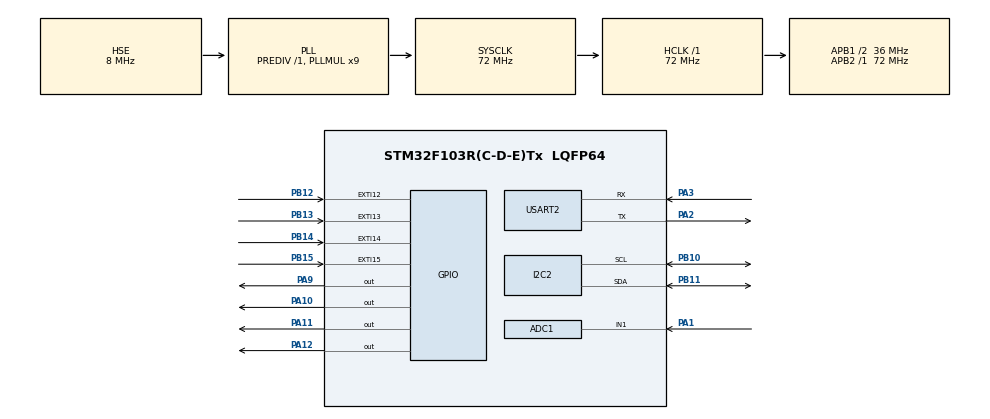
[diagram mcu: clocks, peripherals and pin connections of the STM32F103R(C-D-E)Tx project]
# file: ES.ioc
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ADC1.Channel-5\#ChannelRegularConversion=ADC_CHANNEL_1
ADC1.ContinuousConvMode=DISABLE
ADC1.EnableInjectedConversion=DISABLE
ADC1.EnableRegularConversion=ENABLE
ADC1.NbrOfConversion=1
ADC1.NbrOfConversionFlag=1
ADC1.Rank-5\#ChannelRegularConversion=1
ADC1.SamplingTime-5\#ChannelRegularConversion=ADC_SAMPLETIME_239CYCLES_5
ADC1.master=1
FREERTOS.Tasks01=defaultTask,24,128,StartDefaultTask,Default,NULL,Dynamic,NULL,NULL
FREERTOS.configTOTAL_HEAP_SIZE=6144
I2C2.I2C_Mode=I2C_Standard
Mcu.Family=STM32F1
Mcu.Name=STM32F103R(C-D-E)Tx
Mcu.Package=LQFP64
NVIC.ADC1_2_IRQn=true\:5\:0\:false\:false\:true\:true\:true\:true
NVIC.EXTI15_10_IRQn=true\:5\:0\:true\:false\:true\:true\:true\:true
NVIC.PriorityGroup=NVIC_PRIORITYGROUP_4
NVIC.TIM1_UP_IRQn=true\:15\:0\:false\:false\:true\:false\:false\:true
NVIC.TimeBase=TIM1_UP_IRQn
NVIC.TimeBaseIP=TIM1
NVIC.USART2_IRQn=true\:5\:0\:false\:false\:true\:true\:true\:true
PA1.Signal=ADCx_IN1
PA10.PinState=GPIO_PIN_SET
PA10.Signal=GPIO_Output
PA11.PinState=GPIO_PIN_SET
PA11.Signal=GPIO_Output
PA12.PinState=GPIO_PIN_SET
PA12.Signal=GPIO_Output
PA13.Mode=Serial_Wire
PA13.Signal=SYS_JTMS-SWDIO
PA14.Mode=Serial_Wire
PA14.Signal=SYS_JTCK-SWCLK
PA2.Mode=Asynchronous
PA2.Signal=USART2_TX
PA3.Mode=Asynchronous
PA3.Signal=USART2_RX
PA9.PinState=GPIO_PIN_SET
PA9.Signal=GPIO_Output
PB10.Mode=I2C
PB10.Signal=I2C2_SCL
PB11.Mode=I2C
PB11.Signal=I2C2_SDA
PB12.GPIO_ModeDefaultEXTI=GPIO_MODE_IT_FALLING
PB12.Signal=GPXTI12
PB13.GPIO_ModeDefaultEXTI=GPIO_MODE_IT_FALLING
PB13.Signal=GPXTI13
PB14.GPIO_ModeDefaultEXTI=GPIO_MODE_IT_FALLING
PB14.Signal=GPXTI14
PB15.GPIO_ModeDefaultEXTI=GPIO_MODE_IT_FALLING
PB15.Signal=GPXTI15
PD0-OSC_IN.Mode=HSE-External-Oscillator
PD0-OSC_IN.Signal=RCC_OSC_IN
PD1-OSC_OUT.Mode=HSE-External-Oscillator
PD1-OSC_OUT.Signal=RCC_OSC_OUT
ProjectManager.HeapSize=0x200
ProjectManager.StackSize=0x400
ProjectManager.TargetToolchain=STM32CubeIDE
RCC.ADCPresc=RCC_ADCPCLK2_DIV6
RCC.AHBFreq_Value=72000000
RCC.APB1CLKDivider=RCC_HCLK_DIV2
RCC.APB1Freq_Value=36000000
RCC.APB1TimFreq_Value=72000000
RCC.APB2Freq_Value=72000000
RCC.APB2TimFreq_Value=72000000
RCC.HCLKFreq_Value=72000000
RCC.PLLMUL=RCC_PLL_MUL9
RCC.PLLSourceVirtual=RCC_PLLSOURCE_HSE
RCC.SYSCLKFreq_VALUE=72000000
RCC.SYSCLKSource=RCC_SYSCLKSOURCE_PLLCLK
RCC.USBFreq_Value=72000000
SH.ADCx_IN1.0=ADC1_IN1,IN1
USART2.VirtualMode=VM_ASYNC
VP_FREERTOS_VS_CMSIS_V2.Mode=CMSIS_V2
VP_SYS_VS_tim1.Mode=TIM1
board=custom

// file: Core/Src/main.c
/* USER CODE BEGIN Header */
/**
  ******************************************************************************
  * @file           : main.c
  * @brief          : Main program body
  ******************************************************************************
  * @attention
  *
  * <h2><center>&copy; Copyright (c) 2023 STMicroelectronics.
  * All rights reserved.</center></h2>
  *
  * This software component is licensed by ST under Ultimate Liberty license
  * SLA0044, the "License"; You may not use this file except in compliance with
  * the License. You may obtain a copy of the License at:
  *                             www.st.com/SLA0044
  *
  ******************************************************************************
  */
/* USER CODE END Header */
#include "main.h"
#include "cmsis_os.h"
#include "adc.h"
#include "i2c.h"
#include "usart.h"
#include "gpio.h"

void SystemClock_Config(void);
void MX_FREERTOS_Init(void);

int main(void)
{

  /* MCU Configuration--------------------------------------------------------*/

  /* Reset of all peripherals, Initializes the Flash interface and the Systick. */
  HAL_Init();

  /* Configure the system clock */
  SystemClock_Config();

  /* Initialize all configured peripherals */
  MX_GPIO_Init();
  MX_ADC1_Init();
  MX_I2C2_Init();
  MX_USART2_UART_Init();

  /* Init scheduler */
  osKernelInitialize();  /* Call init function for freertos objects (in freertos.c) */
  MX_FREERTOS_Init();
  /* Start scheduler */
  osKernelStart();

  /* We should never get here as control is now taken by the scheduler */
  /* Infinite loop */
  while (1)
  {

  }
}

void SystemClock_Config(void)
{
  RCC_OscInitTypeDef RCC_OscInitStruct = {0};
  RCC_ClkInitTypeDef RCC_ClkInitStruct = {0};
  RCC_PeriphCLKInitTypeDef PeriphClkInit = {0};

  /** Initializes the RCC Oscillators according to the specified parameters
  * in the RCC_OscInitTypeDef structure.
  */
  RCC_OscInitStruct.OscillatorType = RCC_OSCILLATORTYPE_HSE;
  RCC_OscInitStruct.HSEState = RCC_HSE_ON;
  RCC_OscInitStruct.HSEPredivValue = RCC_HSE_PREDIV_DIV1;
  RCC_OscInitStruct.HSIState = RCC_HSI_ON;
  RCC_OscInitStruct.PLL.PLLState = RCC_PLL_ON;
  RCC_OscInitStruct.PLL.PLLSource = RCC_PLLSOURCE_HSE;
  RCC_OscInitStruct.PLL.PLLMUL = RCC_PLL_MUL9;
  if (HAL_RCC_OscConfig(&RCC_OscInitStruct) != HAL_OK)
  {
    Error_Handler();
  }
  /** Initializes the CPU, AHB and APB buses clocks
  */
  RCC_ClkInitStruct.ClockType = RCC_CLOCKTYPE_HCLK|RCC_CLOCKTYPE_SYSCLK
                              |RCC_CLOCKTYPE_PCLK1|RCC_CLOCKTYPE_PCLK2;
  RCC_ClkInitStruct.SYSCLKSource = RCC_SYSCLKSOURCE_PLLCLK;
  RCC_ClkInitStruct.AHBCLKDivider = RCC_SYSCLK_DIV1;
  RCC_ClkInitStruct.APB1CLKDivider = RCC_HCLK_DIV2;
  RCC_ClkInitStruct.APB2CLKDivider = RCC_HCLK_DIV1;

  if (HAL_RCC_ClockConfig(&RCC_ClkInitStruct, FLASH_LATENCY_2) != HAL_OK)
  {
    Error_Handler();
  }
  PeriphClkInit.PeriphClockSelection = RCC_PERIPHCLK_ADC;
  PeriphClkInit.AdcClockSelection = RCC_ADCPCLK2_DIV6;
  if (HAL_RCCEx_PeriphCLKConfig(&PeriphClkInit) != HAL_OK)
  {
    Error_Handler();
  }
}

void HAL_TIM_PeriodElapsedCallback(TIM_HandleTypeDef *htim)
{
  if (htim->Instance == TIM1) {
    HAL_IncTick();
  }
}

void Error_Handler(void)
{
  __disable_irq();
  while (1)
  {
  }
}

/************************ (C) COPYRIGHT STMicroelectronics *****END OF FILE****/

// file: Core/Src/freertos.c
/* USER CODE BEGIN Header */
/**
  ******************************************************************************
  * File Name          : freertos.c
  * Description        : Code for freertos applications
  ******************************************************************************
  * @attention
  *
  * <h2><center>&copy; Copyright (c) 2023 STMicroelectronics.
  * All rights reserved.</center></h2>
  *
  * This software component is licensed by ST under Ultimate Liberty license
  * SLA0044, the "License"; You may not use this file except in compliance with
  * the License. You may obtain a copy of the License at:
  *                             www.st.com/SLA0044
  *
  ******************************************************************************
  */
/* USER CODE END Header */

#include "FreeRTOS.h"
#include "task.h"
#include "main.h"
#include "cmsis_os.h"

/* USER CODE BEGIN Includes */
#include <stdio.h>
#include <stdint.h>
#include <string.h>
#include <stdlib.h>
#include <math.h>
#include <stdbool.h>
#include <time.h>
#include "timers.h"
#include "event_groups.h"
#include "queue.h"
#include "semphr.h"
#include "i2c.h"
#include "usart.h"
#include "gpio.h"
#include "lcd.h"
#include "ads1115.h"
/* USER CODE END Includes */

/* USER CODE BEGIN PD */
#define ADC_BIT (1 << 0)
#define BUT0_BIT (1 << 1)
#define BUT1_BIT (1 << 2)
#define BUT2_BIT (1 << 3)
#define BUT3_BIT (1 << 4)
#define UART_BIT (1 << 5)
#define START_BYTE 1
#define END_BYTE 2
#define ERROR_FRAME 3
#define UART_BUFFER_LEN 20
#define LED_ON 0
#define LED_OFF 1

#define VER_2
/* USER CODE END PD */

/* USER CODE BEGIN Variables */
static const char *TAG = "FREERTOS.c";

xTaskHandle lcdTaskHandle;
xTaskHandle sensorTaskHandle;
xTaskHandle generalTaskHandle;
xQueueHandle sensorQueueHandle;
xQueueHandle genlcdQueueHandle;
xQueueHandle gensenQueueHandle;
EventGroupHandle_t evGroupHandle;
SemaphoreHandle_t i2cSemphrHandle;
extern ADC_HandleTypeDef hadc1;
extern UART_HandleTypeDef huart2;

typedef struct {
	uint8_t ucType;
	uint8_t ucVal[5];
} uartCfgHandle_t;

typedef struct {
	uint8_t ucPage;
	uint8_t ucCursor;
	bool bCfg;
	double dbVal[2];
	uint8_t ucVal[2][10];
} generalTestHandle_t;

typedef struct {
	uint8_t ucSensorStm[10];
	uint8_t ucSensorAds[10];
} sensorTestHandle_t;

uint8_t ucRxData;
uint8_t ucRxBuffer[UART_BUFFER_LEN] = {0};
uint8_t ucRxFlag = START_BYTE;
uint8_t ucRxCnt = 0;
/* USER CODE END Variables */
/* Definitions for defaultTask */
osThreadId_t defaultTaskHandle;
const osThreadAttr_t defaultTask_attributes = {
  .name = "defaultTask",
  .stack_size = 128 * 4,
  .priority = (osPriority_t) osPriorityNormal,
};

/* USER CODE BEGIN FunctionPrototypes */
void lcd_task(void *param);
void sensor_task(void *param);
void general_task(void *param);

void reverse(char *str, int len)
{
    int i = 0, j = len - 1, temp;
    while (i < j)
    {
        temp = str[i];
        str[i] = str[j];
        str[j] = temp;
        i++;
        j--;
    }
}

int intToStr(int x, char str[], int d)
{
    int i = 0;
    if(x == 0)
        str[i++] = '0';

    while (x)
    {
        str[i++] = (x % 10) + '0';
        x = x / 10;
    }

    while (i < d)
        str[i++] = '0';

    reverse(str, i);
    str[i] = '\0';
    return i;
}

void ftoa(double n, char* res, int afterpoint)
{
    int ipart = (int)n;
    double fpart = n - (double)ipart;
    int i = intToStr(ipart, res, 0);
    if (afterpoint != 0)
    {
        res[i] = '.';
        fpart = fpart * pow(10, afterpoint);
        intToStr((int)fpart, res + i + 1, afterpoint);
    }
}

void LOG(const char *TAG, char *data)
{
	char data_log[100] = {0};
	sprintf(data_log, "\r\n%s: %s\r\n", TAG, data);
	HAL_UART_Transmit(&huart2, (uint8_t *)data_log, strlen(data_log), 1000);
}
/* USER CODE END FunctionPrototypes */

void StartDefaultTask(void *argument);

void MX_FREERTOS_Init(void); /* (MISRA C 2004 rule 8.1) */

void MX_FREERTOS_Init(void) {

  /* USER CODE BEGIN RTOS_SEMAPHORES */
  /* add semaphores, ... */
	i2cSemphrHandle = xSemaphoreCreateMutex();
	if (i2cSemphrHandle == NULL)
	{

	}
  /* USER CODE END RTOS_SEMAPHORES */

  /* USER CODE BEGIN RTOS_QUEUES */
  /* add queues, ... */
	genlcdQueueHandle = xQueueCreate(5, sizeof(generalTestHandle_t));
	sensorQueueHandle = xQueueCreate(5, sizeof(sensorTestHandle_t));
	gensenQueueHandle = xQueueCreate(1, sizeof(generalTestHandle_t));
  /* USER CODE END RTOS_QUEUES */

  /* Create the thread(s) */
  /* creation of defaultTask */
//  defaultTaskHandle = osThreadNew(StartDefaultTask, NULL, &defaultTask_attributes);

  /* USER CODE BEGIN RTOS_THREADS */
  /* add threads, ... */
	xTaskCreate(&general_task, "GEN", 256, NULL, 4, &generalTaskHandle);
	xTaskCreate(&lcd_task, "LCD", 256, NULL, 3, &lcdTaskHandle);
	xTaskCreate(&sensor_task, "SENSOR", 256, NULL, 2, &sensorTaskHandle);
  /* USER CODE END RTOS_THREADS */

  /* USER CODE BEGIN RTOS_EVENTS */
  /* add events, ... */
	evGroupHandle = xEventGroupCreate();
  /* USER CODE END RTOS_EVENTS */

}

void StartDefaultTask(void *argument)
{
  for(;;)
  {
    osDelay(1);
  }
}

/* USER CODE BEGIN Application */
void HAL_ADC_ConvCpltCallback(ADC_HandleTypeDef* hadc)
{
	BaseType_t xHigherPriorityTaskWoken = pdFALSE;
	if (hadc->Instance == ADC1)
	{
		xEventGroupSetBitsFromISR(evGroupHandle, ADC_BIT, &xHigherPriorityTaskWoken);
	}
}

void HAL_GPIO_EXTI_Callback(uint16_t GPIO_Pin)
{
	BaseType_t xHigherPriorityTaskWoken = pdFALSE;
	if (GPIO_Pin == GPIO_PIN_12)
	{
		xEventGroupSetBitsFromISR(evGroupHandle, BUT0_BIT, &xHigherPriorityTaskWoken);
	}
	else if (GPIO_Pin == GPIO_PIN_13)
	{
		xEventGroupSetBitsFromISR(evGroupHandle, BUT1_BIT, &xHigherPriorityTaskWoken);
	}
	else if (GPIO_Pin == GPIO_PIN_14)
	{
		xEventGroupSetBitsFromISR(evGroupHandle, BUT2_BIT, &xHigherPriorityTaskWoken);
	}
	else if (GPIO_Pin == GPIO_PIN_15)
	{
		xEventGroupSetBitsFromISR(evGroupHandle, BUT3_BIT, &xHigherPriorityTaskWoken);
	}
}

void HAL_UART_RxCpltCallback(UART_HandleTypeDef *huart)
{
	BaseType_t xHigherPriorityTaskWoken = pdFALSE;
	if(ucRxData == '$')
	{
		memset((char *)ucRxBuffer, 0, strlen((char *)ucRxBuffer));
		ucRxBuffer[0] = ucRxData;
		ucRxFlag = START_BYTE;
		HAL_UART_Receive_IT(&huart2, &ucRxData, 1);
	}
	else if (ucRxFlag == START_BYTE && ucRxCnt < 20)
	{
		ucRxBuffer[++ucRxCnt] = ucRxData;
		if (ucRxData == '*')
			xEventGroupSetBitsFromISR(evGroupHandle, UART_BIT, &xHigherPriorityTaskWoken);
		else
			HAL_UART_Receive_IT(&huart2, &ucRxData, 1);
	}
	else if (ucRxCnt == UART_BUFFER_LEN)
	{
		ucRxFlag = ERROR_FRAME;
		memset((char *)ucRxBuffer, 0, strlen((char *)ucRxBuffer));
		ucRxCnt = 0;
		HAL_UART_Receive_IT(&huart2, &ucRxData, 1);
	}
}

void sensor_task(void *param)
{
	TickType_t xWakeTick = xTaskGetTickCount();
	EventBits_t xEvBit;
	uint8_t ucDataAds[3] = {0};
	generalTestHandle_t generalTest;
	sensorTestHandle_t sensorTest;
	BaseType_t xGenRet;
	double dbSensorStm;
	double dbSensorAds;
	double dbVal[2] = {1000.0, 25.0};
	ads_init();
	while (1)
	{
		xGenRet = xQueueReceive(gensenQueueHandle, &generalTest, 0 / portTICK_RATE_MS);
		if (xGenRet == pdTRUE)
		{
			dbVal[0] = generalTest.dbVal[0];
			dbVal[1] = generalTest.dbVal[1];
		}
		HAL_ADC_Start_IT(&hadc1);
		xEvBit = xEventGroupWaitBits(evGroupHandle, ADC_BIT , pdTRUE, pdFALSE, 200 / portTICK_RATE_MS);
		if (xEvBit & ADC_BIT)
			dbSensorStm = (double)HAL_ADC_GetValue(&hadc1) * 100 * 3.3 / 4095 ;
		else
			dbSensorStm = 0;
		ftoa(dbSensorStm, (char *)sensorTest.ucSensorStm, 2);
		memset((char *)ucDataAds, '\0', strlen((char *)ucDataAds));
		ads_read(ADS1115_CONVERSION_REG, ucDataAds);
		dbSensorAds = ((double)((((uint16_t)ucDataAds[0] << 8) & 0xFF00) | ((uint16_t)ucDataAds[1] & 0x00FF)) * 1.024 / 32767) * 100;
		ftoa(dbSensorAds, (char *)sensorTest.ucSensorAds, 2);
		if (dbSensorStm > dbVal[1])
		{
			HAL_GPIO_WritePin(GPIOA, GPIO_PIN_12, LED_ON);
			HAL_GPIO_WritePin(GPIOA, GPIO_PIN_11, LED_ON);
		}
		else
		{
			HAL_GPIO_WritePin(GPIOA, GPIO_PIN_12, LED_OFF);
			HAL_GPIO_WritePin(GPIOA, GPIO_PIN_11, LED_OFF);
		}
		if (dbSensorAds > dbVal[1])
		{
			HAL_GPIO_WritePin(GPIOA, GPIO_PIN_10, LED_ON);
			HAL_GPIO_WritePin(GPIOA, GPIO_PIN_9, LED_ON);
		}
		else
		{
			HAL_GPIO_WritePin(GPIOA, GPIO_PIN_10, LED_OFF);
			HAL_GPIO_WritePin(GPIOA, GPIO_PIN_9, LED_OFF);
		}
		xQueueSend(sensorQueueHandle, &sensorTest, 0 / portTICK_RATE_MS);
		vTaskDelayUntil(&xWakeTick, (TickType_t)dbVal[0] / portTICK_RATE_MS);
	}
}

void general_task(void *param)
{
	generalTestHandle_t generalTest = {
			.bCfg = false,
			.ucCursor = 0,
			.ucPage = 0,
			.dbVal[0] = 1000,
			.dbVal[1] = 25.0,
	};
	EventBits_t xEvBit;
	uartCfgHandle_t uartCfg = {0};
	ftoa(generalTest.dbVal[0] / 1000, (char *)generalTest.ucVal[0], 2);
	ftoa(generalTest.dbVal[1], (char *)generalTest.ucVal[1], 2);
	HAL_UART_Receive_IT(&huart2, &ucRxData, 1);
	while (1)
	{
		xEvBit = xEventGroupWaitBits(evGroupHandle, BUT0_BIT | BUT1_BIT | BUT2_BIT | BUT3_BIT | UART_BIT, pdTRUE, pdFALSE, portMAX_DELAY / portTICK_RATE_MS);
		if (xEvBit & BUT0_BIT)
		{
			generalTest.bCfg = false;
			generalTest.ucCursor = 0;
			generalTest.ucPage = 1 - generalTest.ucPage;
		}
		else if (xEvBit & BUT1_BIT)
		{
			if (generalTest.ucPage == 1 && generalTest.bCfg == false)
			{
				generalTest.ucCursor = 1 - generalTest.ucCursor;
			}
			else if (generalTest.ucPage == 1 && generalTest.bCfg == true)
			{
				if (generalTest.ucCursor == 0)
				{
					if(generalTest.dbVal[generalTest.ucCursor] == 9500)
					{
						generalTest.dbVal[generalTest.ucCursor] = 500;
					}
					else
						generalTest.dbVal[generalTest.ucCursor] += 500;
				}
				else if(generalTest.ucCursor == 1)
				{
					if(generalTest.dbVal[generalTest.ucCursor] == 99)
					{
						generalTest.dbVal[generalTest.ucCursor] = 1;
					}
					else
						generalTest.dbVal[generalTest.ucCursor] += 1;
				}
				ftoa(generalTest.dbVal[0] / 1000, (char *)generalTest.ucVal[0], 1);
				ftoa(generalTest.dbVal[1], (char *)generalTest.ucVal[1], 1);
			}
		}
		else if (xEvBit & BUT2_BIT)
		{
			if (generalTest.ucPage == 1 && generalTest.bCfg == false)
			{
				generalTest.ucCursor = 1 - generalTest.ucCursor;
			}
			else if (generalTest.ucPage == 1 && generalTest.bCfg == true)
			{
				if (generalTest.ucCursor == 0)
				{
					if(generalTest.dbVal[generalTest.ucCursor] == 500)
					{
						generalTest.dbVal[generalTest.ucCursor] = 9500;
					}
					else
						generalTest.dbVal[generalTest.ucCursor] -= 500;
				}
				else if(generalTest.ucCursor == 1)
				{
					if(generalTest.dbVal[generalTest.ucCursor] == 1)
					{
						generalTest.dbVal[generalTest.ucCursor] = 99;
					}
					else
						generalTest.dbVal[generalTest.ucCursor] -= 1;
				}
				ftoa(generalTest.dbVal[0] / 1000, (char *)generalTest.ucVal[0], 1);
				ftoa(generalTest.dbVal[1], (char *)generalTest.ucVal[1], 1);
			}
		}
		else if (xEvBit & BUT3_BIT)
		{
			if (generalTest.ucPage == 1)
			{
				generalTest.bCfg = !generalTest.bCfg;
			}
		}
		else if (xEvBit & UART_BIT)
		{
			LOG(TAG, (char *)ucRxBuffer);
			sscanf((char *)ucRxBuffer, "$,%c,%s,*", (char *)&uartCfg.ucType, (char *)uartCfg.ucVal);
			if (uartCfg.ucType == 'P')
			{
				generalTest.dbVal[0] = atof((char *)uartCfg.ucVal) * 1000;
				if (generalTest.dbVal[0] > 9500)
					generalTest.dbVal[0] = 9500;
				else if (generalTest.dbVal[0] < 500)
					generalTest.dbVal[0] = 500;
				ftoa(generalTest.dbVal[0] / 1000, (char *)generalTest.ucVal[0], 1);
			}
			else if (uartCfg.ucType == 'T')
			{
				generalTest.dbVal[1] = atof((char *)uartCfg.ucVal);
				if (generalTest.dbVal[1] > 99)
					generalTest.dbVal[1] = 99;
				else if (generalTest.dbVal[1] < 1)
					generalTest.dbVal[1] = 1;
				ftoa(generalTest.dbVal[1], (char *)generalTest.ucVal[1], 1);
			}
			ucRxCnt = 0;
			ucRxFlag = START_BYTE;
			HAL_UART_Receive_IT(&huart2, &ucRxData, 1);
		}
		if (xEvBit & 0x3E)
		{
			xQueueSend(genlcdQueueHandle, &generalTest, 0 / portTICK_RATE_MS);
			xQueueOverwrite(gensenQueueHandle, &generalTest);
		}
	}
}

void lcd_task(void *param)
{
	char cVal[2][20];
	TickType_t xWakeTick = xTaskGetTickCount();
	generalTestHandle_t generalTest = {
			.bCfg = false,
			.ucCursor = 0,
			.ucPage = 0,
			.dbVal[0] = 1000,
			.dbVal[1] = 25.0,
	};
	sensorTestHandle_t sensorTest;
	BaseType_t xGenRet;
	BaseType_t xSenRet;
	lcd_init();
	lcd_clear();
	ftoa(generalTest.dbVal[0] / 1000, (char *)generalTest.ucVal[0], 2);
	ftoa(generalTest.dbVal[1], (char *)generalTest.ucVal[1], 2);
	while(1)
	{
		xGenRet = xQueueReceive(genlcdQueueHandle, &generalTest, 0 / portTICK_RATE_MS);
		xSenRet = xQueueReceive(sensorQueueHandle, &sensorTest, 0 / portTICK_RATE_MS);
		if(xGenRet || xSenRet)
		{
			lcd_clear();
			if (generalTest.ucPage == 0)
			{
				for(int i = 0; i < 2; i++)
				{
					memset(cVal[i], 0, strlen(cVal[i]));
					if (i == 0)
					{
						sprintf(cVal[i], "STM: %soC", (char *)sensorTest.ucSensorStm);
					}
					else
						sprintf(cVal[i], "ADS: %soC", (char *)sensorTest.ucSensorAds);
				}
				lcd_send_cmd(0x80 | 0x00);
				lcd_send_string(cVal[0]);
				lcd_send_cmd(0x80 | 0x40);
				lcd_send_string(cVal[1]);
			}
			else if (generalTest.ucPage == 1)
			{
				lcd_send_cmd(0x80 | 0x00);
				lcd_send_string((char *)"Chu ky:");
				lcd_send_cmd(0x80 | 0x08);
				lcd_send_string((char *)generalTest.ucVal[0]);
				lcd_send_cmd(0x80 | 0x40);
				lcd_send_string((char *)"Nguong:");
				lcd_send_cmd(0x80 | 0x48);
				lcd_send_string((char *)generalTest.ucVal[1]);
				if (generalTest.ucCursor == 0)
				{
					if (generalTest.bCfg == true)
					{
						lcd_send_cmd(0x80 | 0x0F);
						lcd_send_string((char *)"<");
					}
					else
					{
						lcd_send_cmd(0x80 | 0x0E);
						lcd_send_string((char *)"<-");
					}
				}
				else if (generalTest.ucCursor == 1)
				{
					if (generalTest.bCfg == true)
					{
						lcd_send_cmd(0x80 | 0x4F);
						lcd_send_string((char *)"<");
					}
					else
					{
						lcd_send_cmd(0x80 | 0x4E);
						lcd_send_string((char *)"<-");
					}
				}
			}
		}
		vTaskDelayUntil(&xWakeTick, 50 / portTICK_RATE_MS);
	}
}

/* USER CODE END Application */

/************************ (C) COPYRIGHT STMicroelectronics *****END OF FILE****/
